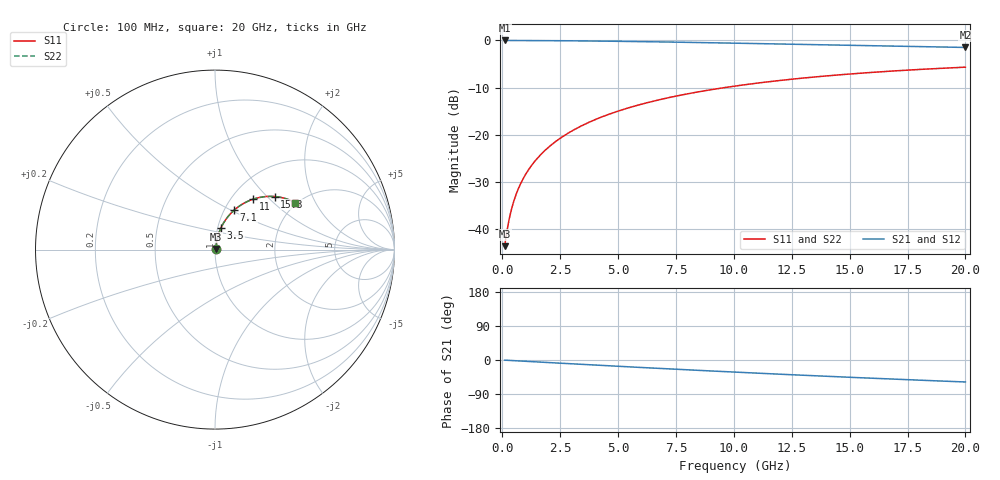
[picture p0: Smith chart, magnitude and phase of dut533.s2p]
! Touchstone file exported from HFSS 2026.1.0
!  File:  C:/ffzhzh/LocalFiles/Ansys_Project_Files/temp_train_BSMRDL_533_1783014798_53980.aedt
!  Generated:  01:54:50 AM Jul  3, 2026
!  Design:  BSMRDL
!  Project:  temp_train_BSMRDL_533_1783014798_53980
! Variables:
!  h_bsmrdl = 3.94um
!  h_ox = 20um
!  h_rdl = 5um
!  h_sub = 80um
!  h_tmrdl = 5um
!  h_tsv = 80um
!  h_via = 3um
!  l_bsmrdl = 895.55um
!  l_sub = 1295.55um
!  l_tmrdl = 200um
!  m_sub = 200um
!  pitch = 42.18um
!  r_tsv = 6um
!  s_tmrdl = 10um
!  w_bsmrdl = 15.3um
!  w_sub = 500um
!  w_tmrdl = 12um
!  x_tsv_center1 = 206um
!  x_tsv_center2 = 1116.85um
!  x_tsv_center3 = 1328.85um
!  x_tsv_center4 = 2239.7um
!  x_tsv_center5 = 2451.7um
!  x_tsv_center6 = 3362.55um
# GHz S MA R 50.000000
! Terminal data exported
! Port[1] = BSM_RDL1_1_T1
! Port[2] = BSM_RDL1_1_T2
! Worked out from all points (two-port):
!   200 points, 100 MHz to 20 GHz, reference 50 ohm
!   highest |S21| = -0.05 dB at 100 MHz (marker M1); lowest = -1.5 dB at 20 GHz (marker M2)
!   |S21| within 3 dB of the highest: start of sweep to end of sweep
!   lowest |S11| = -43.6 dB at 100 MHz (marker M3), VSWR 1.01, Z = 50.5 + j0.396 ohm
!   |S11| at or under -10 dB: start of sweep to 9.625 GHz
!   |S22| runs from -43.6 to -5.7 dB; largest |S21 - S12| = 3.4e-15
!   S11 on the Smith chart (normalised r, x): 100 MHz: 1.01, +0.01; 3.5 GHz: 1.04, +0.26; 7.1 GHz: 1.11, +0.52; 11 GHz: 1.25, +0.80; 15.3 GHz: 1.50, +1.11; 20 GHz: 1.96, +1.40
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0.1  0.006628 36.3  0.9947 -0.4  0.9947 -0.4  0.006628 36.3
! Gamma 0 0 0 0
! Port Impedance 50 0 50 0
0.2  0.009561 54.4  0.9945 -0.7  0.9945 -0.7  0.009561 54.4
0.3  0.01294 63.0  0.9943 -1.0  0.9943 -1.0  0.01294 63.0
0.4  0.01644 67.8  0.9941 -1.4  0.9941 -1.4  0.01644 67.8
0.5  0.01997 70.9  0.9938 -1.7  0.9938 -1.7  0.01997 70.9
0.6  0.02352 72.9  0.9936 -2.1  0.9936 -2.1  0.02352 72.9
0.8  0.03066 75.4  0.9933 -2.7  0.9933 -2.7  0.03066 75.4
1.1  0.04144 77.2  0.9927 -3.7  0.9927 -3.7  0.04145 77.2
1.6  0.05949 78.0  0.9914 -5.4  0.9914 -5.4  0.05949 78.0
2.1  0.07749 77.6  0.9899 -7.1  0.9899 -7.1  0.07749 77.6
2.7  0.09891 76.5  0.9875 -9.1  0.9875 -9.1  0.09891 76.5
3.5  0.127 74.5  0.9836 -11.7  0.9836 -11.7  0.127 74.5
5  0.1779 70.3  0.9743 -16.6  0.9743 -16.6  0.1779 70.3
6.8  0.2352 65.0  0.9605 -22.2  0.9605 -22.2  0.2352 65.0
7.1  0.2444 64.1  0.958 -23.2  0.958 -23.2  0.2444 64.1
8.5  0.2853 60.0  0.9456 -27.4  0.9456 -27.4  0.2853 60.0
10.1  0.3288 55.5  0.9306 -32.1  0.9306 -32.1  0.3288 55.5
11  0.3516 53.0  0.9219 -34.7  0.9219 -34.7  0.3516 53.0
13.4  0.4068 46.5  0.8983 -41.4  0.8983 -41.4  0.4068 46.5
15.3  0.4448 41.7  0.88 -46.4  0.88 -46.4  0.4448 41.6
16.7  0.4697 38.2  0.867 -50.0  0.867 -50.0  0.4698 38.2
20  0.5188 30.3  0.839 -58.0  0.839 -58.0  0.5189 30.3
